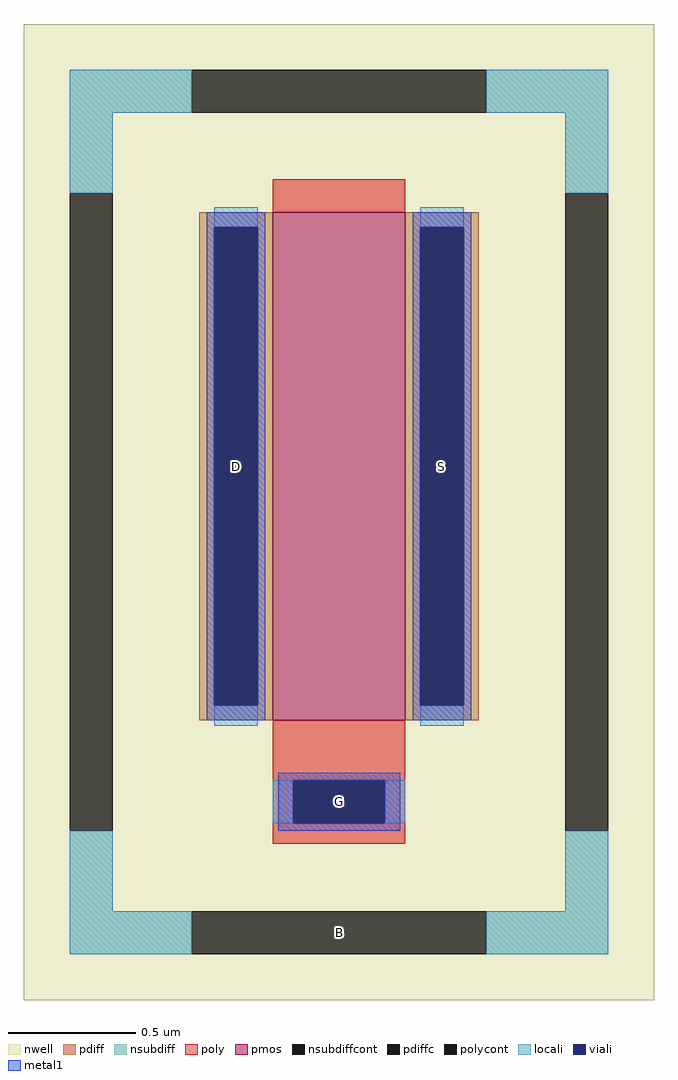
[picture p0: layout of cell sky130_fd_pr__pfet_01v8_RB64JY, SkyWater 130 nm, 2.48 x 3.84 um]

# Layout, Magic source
magic
tech sky130A
magscale 1 2
<< nwell >>
rect -248 -384 248 384
<< pmos >>
rect -52 -164 52 236
<< pdiff >>
rect -110 224 -52 236
rect -110 -152 -98 224
rect -64 -152 -52 224
rect -110 -164 -52 -152
rect 52 224 110 236
rect 52 -152 64 224
rect 98 -152 110 224
rect 52 -164 110 -152
<< pdiffc >>
rect -98 -152 -64 224
rect 64 -152 98 224
<< nsubdiff >>
rect -212 314 -116 348
rect 116 314 212 348
rect -212 251 -178 314
rect 178 251 212 314
rect -212 -314 -178 -251
rect 178 -314 212 -251
rect -212 -348 -116 -314
rect 116 -348 212 -314
<< nsubdiffcont >>
rect -116 314 116 348
rect -212 -251 -178 251
rect 178 -251 212 251
rect -116 -348 116 -314
<< poly >>
rect -52 236 52 262
rect -52 -211 52 -164
rect -52 -245 -36 -211
rect 36 -245 52 -211
rect -52 -261 52 -245
<< polycont >>
rect -36 -245 36 -211
<< locali >>
rect -212 314 -116 348
rect 116 314 212 348
rect -212 251 -178 314
rect 178 251 212 314
rect -98 224 -64 240
rect -98 -168 -64 -152
rect 64 224 98 240
rect 64 -168 98 -152
rect -52 -245 -36 -211
rect 36 -245 52 -211
rect -212 -314 -178 -251
rect 178 -314 212 -251
rect -212 -348 -116 -314
rect 116 -348 212 -314
<< viali >>
rect -98 -152 -64 224
rect 64 -152 98 224
rect -36 -245 36 -211
<< metal1 >>
rect -104 224 -58 236
rect -104 -152 -98 224
rect -64 -152 -58 224
rect -104 -164 -58 -152
rect 58 224 104 236
rect 58 -152 64 224
rect 98 -152 104 224
rect 58 -164 104 -152
rect -48 -211 48 -205
rect -48 -245 -36 -211
rect 36 -245 48 -211
rect -48 -251 48 -245
<< labels >>
rlabel nsubdiffcont 0 -331 0 -331 0 B
port 1 nsew
rlabel pdiffc -81 36 -81 36 0 D
port 2 nsew
rlabel pdiffc 81 36 81 36 0 S
port 3 nsew
rlabel polycont 0 -228 0 -228 0 G
port 4 nsew
<< properties >>
string FIXED_BBOX -195 -331 195 331
string gencell sky130_fd_pr__pfet_01v8
string library sky130
string parameters w 2 l 0.515 m 1 nf 1 diffcov 100 polycov 100 guard 1 glc 1 grc 1 gtc 1 gbc 1 tbcov 100 rlcov 100 topc 0 botc 1 poverlap 0 doverlap 1 lmin 0.15 wmin 0.42 class mosfet compatible {sky130_fd_pr__pfet_01v8  sky130_fd_pr__pfet_01v8_lvt sky130_fd_pr__pfet_01v8_hvt  sky130_fd_pr__pfet_g5v0d10v5} full_metal 1 conn_gates 0 viasrc 100 viadrn 100 viagate 100 viagb 0 viagr 0 viagl 0 viagt 0 doports 1
<< end >>
